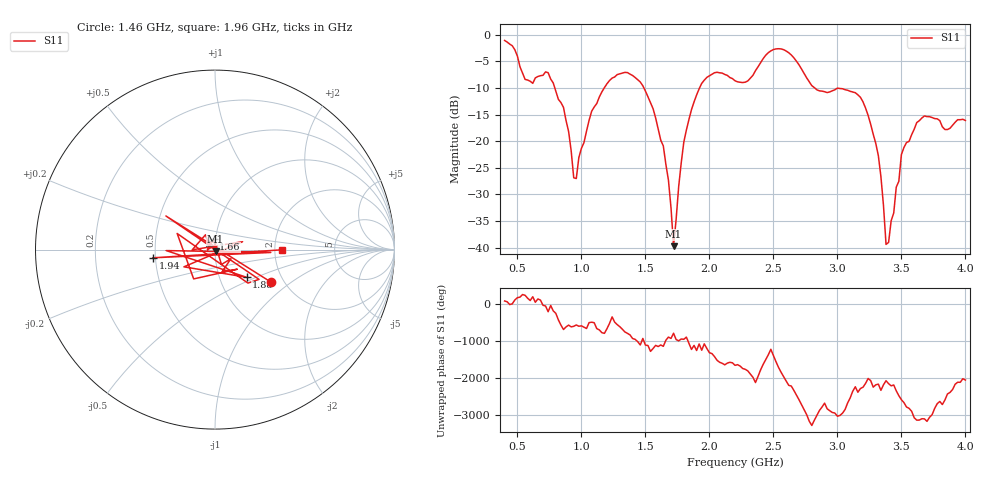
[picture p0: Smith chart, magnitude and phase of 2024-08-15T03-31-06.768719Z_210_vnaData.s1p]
!Created with skrf (http://scikit-rf.org).
# Hz S RI R 50.0
!freq ReS11 ImS11
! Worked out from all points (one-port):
!   181 points, 400 MHz to 4 GHz, reference 50 ohm
!   lowest |S11| = -39.7 dB at 1.72 GHz (marker M1), VSWR 1.02, Z = 50.3 - j0.996 ohm
!   |S11| at or under -10 dB: 792.2 MHz to 1.178 GHz (386 MHz wide, 39.2 % of centre); 1.488 GHz to 1.923 GHz (434.3 MHz wide, 25.5 % of centre); 2.823 GHz to end of sweep
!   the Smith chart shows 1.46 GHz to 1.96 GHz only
!   S11 on the Smith chart (normalised r, x): 1.46 GHz: 1.72, -0.71; 1.66 GHz: 0.98, +0.12; 1.88 GHz: 1.34, -0.44; 1.94 GHz: 0.48, -0.05; 1.96 GHz: 2.20, -0.01
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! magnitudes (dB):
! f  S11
! 400 MHz  -1.1
! 560 MHz  -8.4
! 740 MHz  -7.1
! 860 MHz  -13.6
! 960 MHz  -27.0
! 1.08 GHz  -14.4
! 1.3 GHz  -7.3
! 1.46 GHz  -8.9
! 1.66 GHz  -24.4
! 1.72 GHz  -39.7
! 1.76 GHz  -28.5
! 1.8 GHz  -20.2
! 1.88 GHz  -12.6
! 1.94 GHz  -9.1
! 1.96 GHz  -8.5
! 2.2 GHz  -8.6
! 2.5 GHz  -2.8
! 2.66 GHz  -4.3
! 2.84 GHz  -10.3
! 3.1 GHz  -10.6
! 3.2 GHz  -12.6
! 3.3 GHz  -20.4
! 3.34 GHz  -26.7
! 3.38 GHz  -39.4
! 3.5 GHz  -22.5
! 3.56 GHz  -20.0
! 3.68 GHz  -15.3
! 4 GHz  -16.1
